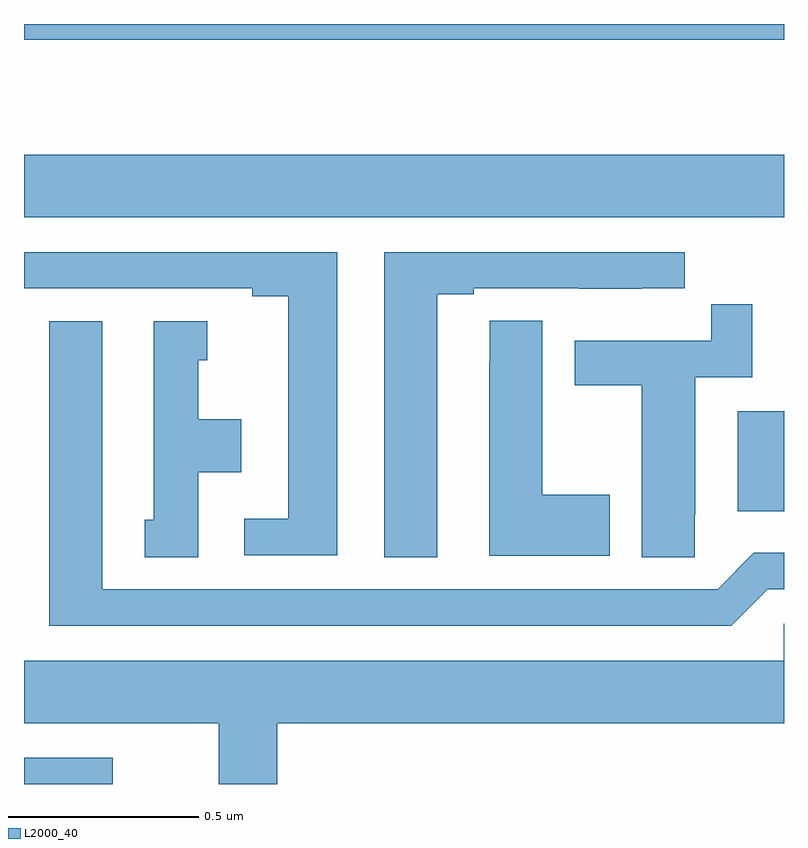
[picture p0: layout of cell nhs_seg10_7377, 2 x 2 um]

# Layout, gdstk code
import gdstk
lib = gdstk.Library(unit=1e-6, precision=1e-09)
def R(c, l, rs):  # rectangles x0, y0, x1, y1
    for r in rs: c.add(gdstk.rectangle(r[:2], r[2:], *l))
def P(c, l, *ps):  # polygons
    for p in ps: c.add(gdstk.Polygon(p, *l))
L2000_40 = (2000, 40)

nhs_seg10_7377 = lib.new_cell('nhs_seg10_7377')
R(nhs_seg10_7377, L2000_40, [(203,1289.5,203.233,1289.569), (204.878,1290.218,205,1290.481), (203,1290.992,205,1291.156), (203,1291.458,205,1291.5)])
P(nhs_seg10_7377, L2000_40, [(204.088,1290.789),(204.184,1290.789),(204.184,1290.804),(204.46,1290.804),(204.46,1290.803),(204.626,1290.803),(204.626,1290.804),(204.739,1290.804),(204.739,1290.9),(203.948,1290.9),(203.948,1290.097),(204.088,1290.097)],
  [(203.824,1290.9),(203,1290.9),(203,1290.804),(203.6,1290.804),(203.6,1290.784),(203.696,1290.784),(203.696,1290.198),(203.58,1290.198),(203.58,1290.102),(203.824,1290.102)],
  [(204.765,1290.208),(204.766,1290.208),(204.766,1290.57),(204.917,1290.57),(204.917,1290.763),(204.808,1290.763),(204.808,1290.666),(204.449,1290.666),(204.449,1290.55),(204.626,1290.55),(204.626,1290.097),(204.765,1290.097)],
  [(204.541,1290.261),(204.364,1290.261),(204.364,1290.719),(204.225,1290.719),(204.225,1290.611),(204.224,1290.611),(204.224,1290.101),(204.541,1290.101)],
  [(203.458,1290.32),(203.572,1290.32),(203.572,1290.46),(203.458,1290.46),(203.458,1290.615),(203.482,1290.615),(203.482,1290.718),(203.342,1290.718),(203.342,1290.195),(203.318,1290.195),(203.318,1290.097),(203.458,1290.097)],
  [(204.957,1290.012),(205,1290.012),(205,1290.108),(204.921,1290.108),(204.825,1290.012),(203.206,1290.012),(203.206,1290.718),(203.066,1290.718),(203.066,1289.916),(204.861,1289.916)],
  [(203.666,1289.66),(205,1289.66),(205,1289.922),(204.999,1289.922),(204.999,1289.824),(203,1289.824),(203,1289.66),(203.513,1289.66),(203.513,1289.5),(203.666,1289.5)])

lib.write_gds('nhs_seg10_7377.gds')
